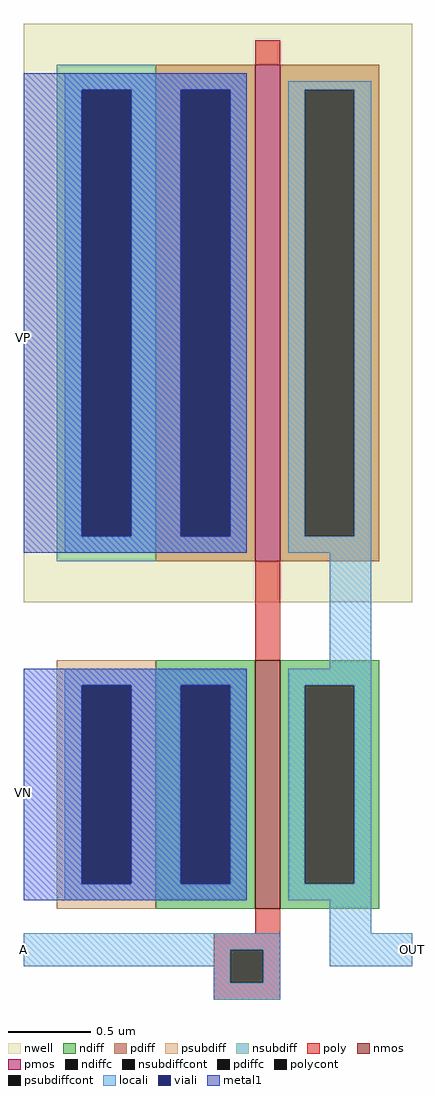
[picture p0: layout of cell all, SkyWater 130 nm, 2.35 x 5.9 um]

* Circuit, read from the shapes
.subckt all VP A OUT VN
XM1 OUT A VN VN sky130_fd_pr__nfet_01v8 w=1.5 l=0.15
XM2 OUT A VP VP sky130_fd_pr__pfet_01v8 w=3 l=0.15
.ends

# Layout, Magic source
magic
tech sky130A
<< nwell >>
rect -1260 650 -1025 1000
<< nmos >>
rect -1120 465 -1105 615
<< pmos >>
rect -1120 675 -1105 975
<< ndiff >>
rect -1180 600 -1120 615
rect -1180 480 -1165 600
rect -1135 480 -1120 600
rect -1180 465 -1120 480
rect -1105 600 -1045 615
rect -1105 480 -1090 600
rect -1060 480 -1045 600
rect -1105 465 -1045 480
<< pdiff >>
rect -1180 960 -1120 975
rect -1180 690 -1165 960
rect -1135 690 -1120 960
rect -1180 675 -1120 690
rect -1105 960 -1045 975
rect -1105 690 -1090 960
rect -1060 690 -1045 960
rect -1105 675 -1045 690
<< ndiffc >>
rect -1165 480 -1135 600
rect -1090 480 -1060 600
<< pdiffc >>
rect -1165 690 -1135 960
rect -1090 690 -1060 960
<< psubdiff >>
rect -1240 600 -1180 615
rect -1240 480 -1225 600
rect -1195 480 -1180 600
rect -1240 465 -1180 480
<< nsubdiff >>
rect -1240 960 -1180 975
rect -1240 690 -1225 960
rect -1195 690 -1180 960
rect -1240 675 -1180 690
<< psubdiffcont >>
rect -1225 480 -1195 600
<< nsubdiffcont >>
rect -1225 690 -1195 960
<< poly >>
rect -1120 975 -1105 990
rect -1120 615 -1105 675
rect -1120 450 -1105 465
rect -1145 440 -1105 450
rect -1145 420 -1135 440
rect -1115 420 -1105 440
rect -1145 410 -1105 420
<< polycont >>
rect -1135 420 -1115 440
<< locali >>
rect -1235 960 -1125 970
rect -1235 690 -1225 960
rect -1195 690 -1165 960
rect -1135 690 -1125 960
rect -1235 680 -1125 690
rect -1100 960 -1050 965
rect -1100 690 -1090 960
rect -1060 690 -1050 960
rect -1100 680 -1050 690
rect -1075 610 -1050 680
rect -1235 600 -1125 610
rect -1235 480 -1225 600
rect -1195 480 -1165 600
rect -1135 480 -1125 600
rect -1235 470 -1125 480
rect -1100 600 -1050 610
rect -1100 480 -1090 600
rect -1060 480 -1050 600
rect -1100 470 -1050 480
rect -1075 450 -1050 470
rect -1260 440 -1105 450
rect -1260 430 -1135 440
rect -1145 420 -1135 430
rect -1115 420 -1105 440
rect -1075 430 -1025 450
rect -1145 410 -1105 420
<< viali >>
rect -1225 690 -1195 960
rect -1165 690 -1135 960
rect -1225 480 -1195 600
rect -1165 480 -1135 600
<< metal1 >>
rect -1260 960 -1125 970
rect -1260 690 -1225 960
rect -1195 690 -1165 960
rect -1135 690 -1125 960
rect -1260 680 -1125 690
rect -1260 600 -1125 610
rect -1260 480 -1225 600
rect -1195 480 -1165 600
rect -1135 480 -1125 600
rect -1260 470 -1125 480
<< labels >>
rlabel locali -1025 440 -1025 440 3 OUT
port 3 e
rlabel metal1 -1260 810 -1260 810 7 VP
port 1 w
rlabel metal1 -1260 535 -1260 535 7 VN
port 4 w
rlabel locali -1260 440 -1260 440 7 A
port 2 w
<< end >>
